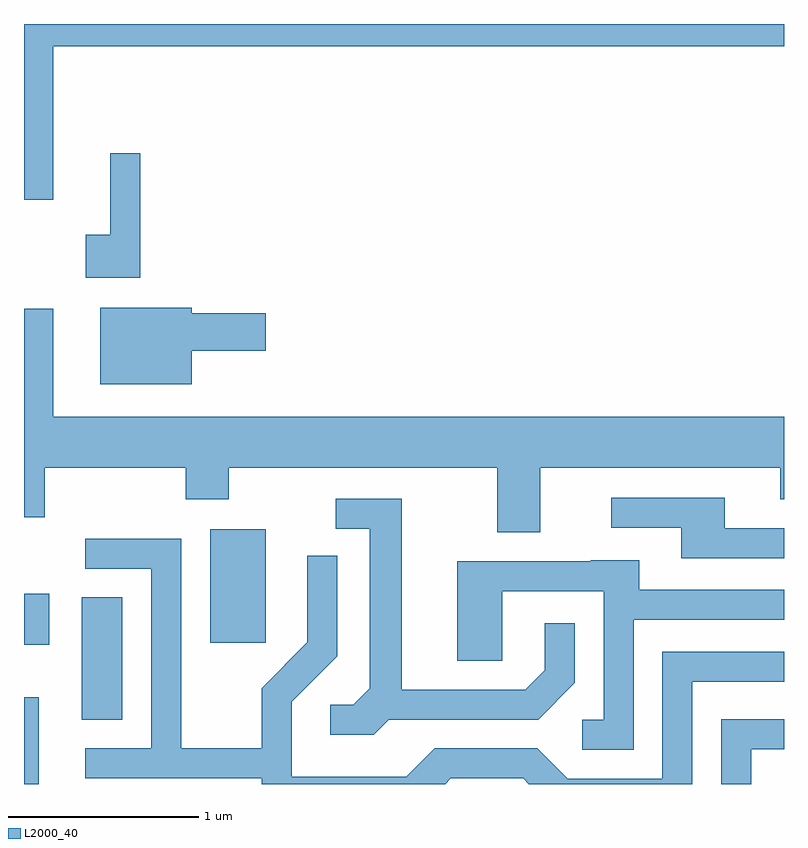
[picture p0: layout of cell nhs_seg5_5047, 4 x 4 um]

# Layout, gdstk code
import gdstk
lib = gdstk.Library(unit=1e-6, precision=1e-09)
def R(c, l, rs):  # rectangles x0, y0, x1, y1
    for r in rs: c.add(gdstk.rectangle(r[:2], r[2:], *l))
def P(c, l, *ps):  # polygons
    for p in ps: c.add(gdstk.Polygon(p, *l))
L2000_40 = (2000, 40)

nhs_seg5_5047 = lib.new_cell('nhs_seg5_5047')
R(nhs_seg5_5047, L2000_40, [(335.611,1404.072,335.689,1404.528), (335.916,1404.411,336.129,1405.054), (335.611,1404.806,335.744,1405.074), (336.591,1404.816,336.884,1405.414)])
P(nhs_seg5_5047, L2000_40, [(335.764,1407.956),(339.611,1407.956),(339.611,1408.072),(335.611,1408.072),(335.611,1407.148),(335.764,1407.148)],
  [(336.224,1407.393),(336.066,1407.393),(336.066,1406.964),(335.936,1406.964),(335.936,1406.736),(336.224,1406.736)],
  [(336.494,1406.351),(336.884,1406.351),(336.884,1406.549),(336.494,1406.549),(336.494,1406.579),(336.011,1406.579),(336.011,1406.176),(336.494,1406.176)],
  [(338.329,1405.736),(339.591,1405.736),(339.591,1405.571),(339.611,1405.571),(339.611,1406.004),(335.764,1406.004),(335.764,1406.573),(335.611,1406.573),(335.611,1405.476),(335.719,1405.476),(335.719,1405.736),(336.461,1405.736),(336.461,1405.571),(336.689,1405.571),(336.689,1405.736),(338.101,1405.736),(338.101,1405.396),(338.329,1405.396)],
  [(339.611,1405.419),(339.299,1405.419),(339.299,1405.579),(338.703,1405.579),(338.703,1405.421),(339.071,1405.421),(339.071,1405.261),(339.611,1405.261)],
  [(337.532,1404.411),(338.317,1404.411),(338.509,1404.604),(338.509,1404.918),(338.351,1404.918),(338.351,1404.672),(338.249,1404.569),(337.599,1404.569),(337.599,1405.574),(337.253,1405.574),(337.253,1405.416),(337.431,1405.416),(337.431,1404.577),(337.344,1404.489),(337.223,1404.489),(337.223,1404.331),(337.452,1404.331)],
  [(337.857,1404.101),(338.239,1404.101),(338.268,1404.072),(339.129,1404.072),(339.129,1404.611),(339.611,1404.611),(339.611,1404.769),(338.971,1404.769),(338.971,1404.099),(338.472,1404.099),(338.312,1404.259),(337.774,1404.259),(337.624,1404.109),(337.019,1404.109),(337.019,1404.504),(337.259,1404.744),(337.259,1405.273),(337.101,1405.273),(337.101,1404.817),(336.861,1404.577),(336.861,1404.259),(336.439,1404.259),(336.439,1405.364),(335.933,1405.364),(335.933,1405.206),(336.281,1405.206),(336.281,1404.259),(335.933,1404.259),(335.933,1404.101),(336.861,1404.101),(336.861,1404.072),(337.828,1404.072)],
  [(338.819,1404.936),(339.611,1404.936),(339.611,1405.094),(338.849,1405.094),(338.849,1405.249),(338.595,1405.249),(338.595,1405.244),(337.891,1405.244),(337.891,1404.721),(338.129,1404.721),(338.129,1405.086),(338.661,1405.086),(338.661,1404.409),(338.548,1404.409),(338.548,1404.251),(338.819,1404.251)],
  [(339.439,1404.256),(339.611,1404.256),(339.611,1404.414),(339.281,1404.414),(339.281,1404.072),(339.439,1404.072)])

lib.write_gds('nhs_seg5_5047.gds')
